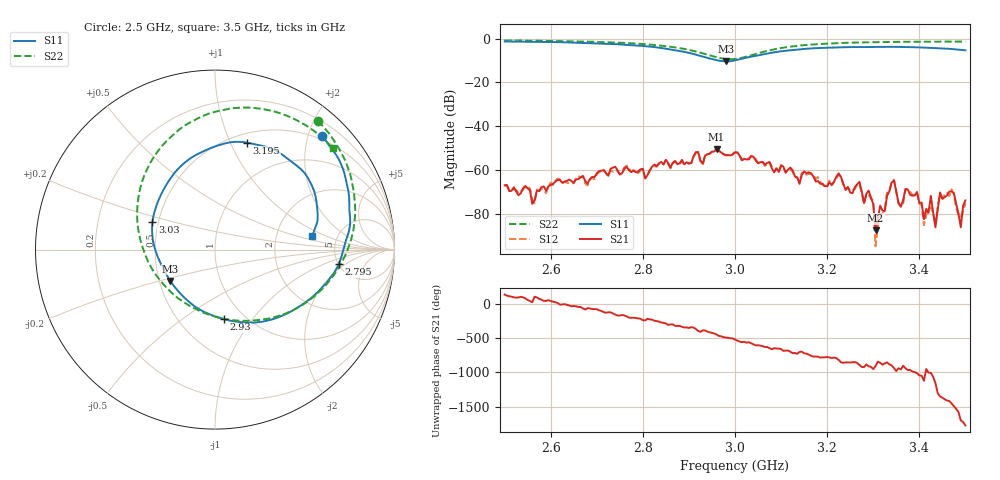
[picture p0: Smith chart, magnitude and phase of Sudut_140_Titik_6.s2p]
# Hz S RI R 50
! CMT, C1220, 16058040, 17.2.0/1
! Date: 15/08/2018 10:17:12
! Data: Format (Calibration Info)
! Freq  S11: Re/Im (F2)  S21: Re/Im (F2)  S12: Re/Im (F2)  S22: Re/Im (F2)
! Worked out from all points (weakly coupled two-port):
!   201 points, 2.5 GHz to 3.5 GHz, reference 50 ohm
!   highest |S21| = -50.55 dB at 2.96 GHz (marker M1); lowest = -87.7 dB at 3.305 GHz (marker M2)
!   lowest |S11| = -10.3 dB at 2.98 GHz (marker M3), VSWR 1.87, Z = 28.5 - j11 ohm
!   |S11| at or under -10 dB: 2.965 GHz to 2.997 GHz (31.93 MHz wide, 1.07 % of centre)
!   |S22| runs from -9.4 to -0.7 dB; largest |S21 - S12| = 0.00023
!   S11 on the Smith chart (normalised r, x): 2.5 GHz: 0.43, +2.25; 2.795 GHz: 5.03, -1.58; 2.93 GHz: 0.80, -0.73; 3.03 GHz: 0.46, +0.17; 3.195 GHz: 0.60, +1.16; 3.5 GHz: 3.24, +0.71
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2.5e9  0.5967 0.6334  -0.000309 0.000315  -0.000339 0.000292  0.5732 0.7165
2.56e9  0.66 0.5489  0.000153 6.33e-05  0.000193 8.36e-05  0.6397 0.6412
2.67e9  0.7445 0.3162  0.000276 -0.00067  0.000226 -0.000667  0.745 0.444
2.795e9  0.6895 -0.0814  -0.000809 0.000636  -0.000755 0.000631  0.7641 0.078
2.835e9  0.587 -0.2214  -0.000277 0.00139  -0.000312 0.00134  0.7017 -0.0778
2.93e9  0.0486 -0.3873  0.00122 -0.000622  0.00117 -0.000538  0.2522 -0.3912
2.96e9  -0.1472 -0.2889  8.27e-05 -0.00297  0.000162 -0.00311  0.0202 -0.3781
2.98e9  -0.2488 -0.1748  -0.00143 -0.00165  -0.00135 -0.00166  -0.1364 -0.3164
3e9  -0.3183 -0.0421  -0.00235 -0.000884  -0.00242 -0.000806  -0.2729 -0.2088
3.03e9  -0.3483 0.1537  -0.00163 0.000581  -0.00169 0.000564  -0.4029 0.011
3.17e9  0.0988 0.5993  0.000465 -0.000535  0.00054 -0.000559  -0.0745 0.7412
3.195e9  0.1788 0.5957  0.00021 -0.000367  0.000164 -0.000358  0.0189 0.7719
3.27e9  0.3745 0.5293  -0.000526 -8.05e-05  -0.000466 -3.98e-05  0.2558 0.7844
3.305e9  0.445 0.476  -4.08e-05 6.04e-06  1.36e-05 1.16e-05  0.3427 0.7657
3.335e9  0.4958 0.4303  -0.000309 -0.000102  -0.00031 -8.34e-05  0.4084 0.7427
3.345e9  0.5089 0.413  -0.000457 0.000338  -0.000479 0.000355  0.4283 0.7342
3.36e9  0.5254 0.3849  -7.89e-05 0.000118  -9.79e-05 0.00012  0.4563 0.7201
3.395e9  0.5553 0.3159  0.000108 0.000291  0.000133 0.000275  0.5164 0.6862
3.41e9  0.5629 0.2838  5.56e-05 -4.9e-05  2.62e-05 -4.75e-05  0.5407 0.6688
3.47e9  0.5668 0.1445  0.000313 -5.89e-05  0.000347 -7.73e-05  0.6214 0.6018
3.485e9  0.5549 0.1115  -7.21e-05 -6.91e-05  -7.83e-05 -5.16e-05  0.6392 0.5826
3.5e9  0.5412 0.077  0.000176 9.39e-05  0.000162 5.85e-05  0.656 0.5647
